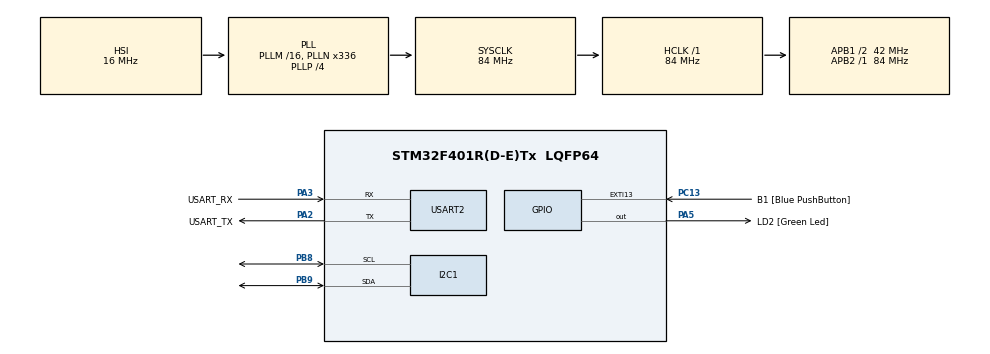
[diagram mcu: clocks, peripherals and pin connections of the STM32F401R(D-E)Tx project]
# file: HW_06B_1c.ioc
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Dma.I2C1_RX.0.Direction=DMA_PERIPH_TO_MEMORY
Dma.I2C1_RX.0.FIFOMode=DMA_FIFOMODE_DISABLE
Dma.I2C1_RX.0.Instance=DMA1_Stream0
Dma.I2C1_RX.0.MemDataAlignment=DMA_MDATAALIGN_BYTE
Dma.I2C1_RX.0.MemInc=DMA_MINC_ENABLE
Dma.I2C1_RX.0.Mode=DMA_NORMAL
Dma.I2C1_RX.0.PeriphDataAlignment=DMA_PDATAALIGN_BYTE
Dma.I2C1_RX.0.PeriphInc=DMA_PINC_DISABLE
Dma.I2C1_RX.0.Priority=DMA_PRIORITY_LOW
Dma.Request0=I2C1_RX
Dma.Request1=USART2_TX
Dma.USART2_TX.1.Direction=DMA_MEMORY_TO_PERIPH
Dma.USART2_TX.1.FIFOMode=DMA_FIFOMODE_DISABLE
Dma.USART2_TX.1.Instance=DMA1_Stream6
Dma.USART2_TX.1.MemDataAlignment=DMA_MDATAALIGN_BYTE
Dma.USART2_TX.1.MemInc=DMA_MINC_ENABLE
Dma.USART2_TX.1.Mode=DMA_NORMAL
Dma.USART2_TX.1.PeriphDataAlignment=DMA_PDATAALIGN_BYTE
Dma.USART2_TX.1.PeriphInc=DMA_PINC_DISABLE
Dma.USART2_TX.1.Priority=DMA_PRIORITY_LOW
Mcu.Family=STM32F4
Mcu.Name=STM32F401R(D-E)Tx
Mcu.Package=LQFP64
NVIC.DMA1_Stream0_IRQn=true\:0\:0\:false\:false\:true\:false\:true\:true
NVIC.DMA1_Stream6_IRQn=true\:0\:0\:false\:false\:true\:false\:true\:true
NVIC.I2C1_EV_IRQn=true\:0\:0\:false\:false\:true\:true\:true\:true
NVIC.PriorityGroup=NVIC_PRIORITYGROUP_0
NVIC.TIM2_IRQn=true\:0\:0\:false\:false\:true\:true\:true\:true
NVIC.USART2_IRQn=true\:0\:0\:false\:false\:true\:true\:true\:true
PA13.GPIO_Label=TMS
PA13.Mode=Serial_Wire
PA13.Signal=SYS_JTMS-SWDIO
PA14.GPIO_Label=TCK
PA14.Mode=Serial_Wire
PA14.Signal=SYS_JTCK-SWCLK
PA2.GPIO_Label=USART_TX
PA2.GPIO_Mode=GPIO_MODE_AF_PP
PA2.GPIO_PuPd=GPIO_NOPULL
PA2.GPIO_Speed=GPIO_SPEED_FREQ_LOW
PA2.Mode=Asynchronous
PA2.Signal=USART2_TX
PA3.GPIO_Label=USART_RX
PA3.GPIO_Mode=GPIO_MODE_AF_PP
PA3.GPIO_PuPd=GPIO_NOPULL
PA3.GPIO_Speed=GPIO_SPEED_FREQ_LOW
PA3.Mode=Asynchronous
PA3.Signal=USART2_RX
PA5.GPIO_Label=LD2 [Green Led]
PA5.GPIO_Mode=GPIO_MODE_OUTPUT_PP
PA5.GPIO_PuPd=GPIO_NOPULL
PA5.GPIO_Speed=GPIO_SPEED_FREQ_LOW
PA5.Signal=GPIO_Output
PB3.GPIO_Label=SWO
PB3.Signal=SYS_JTDO-SWO
PB8.Mode=I2C
PB8.Signal=I2C1_SCL
PB9.Mode=I2C
PB9.Signal=I2C1_SDA
PC13-ANTI_TAMP.GPIO_Label=B1 [Blue PushButton]
PC13-ANTI_TAMP.GPIO_ModeDefaultEXTI=GPIO_MODE_IT_FALLING
PC13-ANTI_TAMP.GPIO_PuPd=GPIO_NOPULL
PC13-ANTI_TAMP.Signal=GPXTI13
PC14-OSC32_IN.Mode=LSE-External-Oscillator
PC14-OSC32_IN.Signal=RCC_OSC32_IN
PC15-OSC32_OUT.Mode=LSE-External-Oscillator
PC15-OSC32_OUT.Signal=RCC_OSC32_OUT
PH0\ -\ OSC_IN.Mode=HSE-External-Clock-Source
PH0\ -\ OSC_IN.Signal=RCC_OSC_IN
PH1\ -\ OSC_OUT.Mode=HSE-External-Clock-Source
PH1\ -\ OSC_OUT.Signal=RCC_OSC_OUT
ProjectManager.HeapSize=0x200
ProjectManager.StackSize=0x400
ProjectManager.TargetToolchain=STM32CubeIDE
RCC.48MHZClocksFreq_Value=48000000
RCC.AHBFreq_Value=84000000
RCC.APB1CLKDivider=RCC_HCLK_DIV2
RCC.APB1Freq_Value=42000000
RCC.APB1TimFreq_Value=84000000
RCC.APB2Freq_Value=84000000
RCC.APB2TimFreq_Value=84000000
RCC.CortexFreq_Value=84000000
RCC.HCLKFreq_Value=84000000
RCC.HSE_VALUE=8000000
RCC.HSI_VALUE=16000000
RCC.PLLN=336
RCC.PLLP=RCC_PLLP_DIV4
RCC.PLLQ=7
RCC.SYSCLKFreq_VALUE=84000000
RCC.SYSCLKSource=RCC_SYSCLKSOURCE_PLLCLK
RCC.VCOOutputFreq_Value=336000000
TIM2.Channel-Output\ Compare1\ No\ Output=TIM_CHANNEL_1
TIM2.Period=10000-1
TIM2.Prescaler=8400-1
TIM2.TIM_MasterOutputTrigger=TIM_TRGO_UPDATE
USART2.VirtualMode=VM_ASYNC
VP_TIM2_VS_no_output1.Mode=Output Compare1 No Output
board=NUCLEO-F401RE

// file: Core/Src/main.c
/* USER CODE BEGIN Header */
/**
  ******************************************************************************
  * @file           : main.c
  * @brief          : Main program body
  ******************************************************************************
  * @attention
  *
  * Copyright (c) 2023 STMicroelectronics.
  * All rights reserved.
  *
  * This software is licensed under terms that can be found in the LICENSE file
  * in the root directory of this software component.
  * If no LICENSE file comes with this software, it is provided AS-IS.
  *
  ******************************************************************************
  */
/* USER CODE END Header */
#include "main.h"

/* USER CODE BEGIN Includes */
#include "stdio.h"
/* USER CODE END Includes */

/* USER CODE BEGIN PD */

// Board variant 1
#define LIS2DE_ADD 0b01010000

// Board variant 2
//#define LIS2DE_ADD 0b00011000

/* USER CODE END PD */

I2C_HandleTypeDef hi2c1;
DMA_HandleTypeDef hdma_i2c1_rx;

TIM_HandleTypeDef htim2;

UART_HandleTypeDef huart2;
DMA_HandleTypeDef hdma_usart2_tx;

/* USER CODE BEGIN PV */
//control register addresses and their initialization bytes value
uint8_t CTRL_REG1[2] = {0x20,0b00010111};
uint8_t CTRL_REG2[2] = {0x21,0b00000000};
uint8_t CTRL_REG4[2] = {0x23,0b00000000};

//sub address of register that stores x value
//0x80 is added to set the MSB of the address to 1, to activate the auto increment, see datasheet pag.22
uint8_t ACC_OUT_X = 0x29+0x80;
int8_t directions[5];

/* USER CODE END PV */

void SystemClock_Config(void);
static void MX_GPIO_Init(void);
static void MX_DMA_Init(void);
static void MX_USART2_UART_Init(void);
static void MX_I2C1_Init(void);
static void MX_TIM2_Init(void);

/* USER CODE BEGIN 0 */
void HAL_TIM_PeriodElapsedCallback(TIM_HandleTypeDef *htim)
{
	if(htim == &htim2)
	{
		//tell to LIS2DE which register you want to read from
		//the MSB of the subaddress is set to 1 to activate the auto increment, see datasheet pag.22
		if(HAL_I2C_Master_Transmit(&hi2c1, LIS2DE_ADD, &ACC_OUT_X, 1, 50) != HAL_OK)
			Error_Handler();

		//Read data from the register (x)
		//1 is summed to the address to tell the slave that we need to read data (see datasheet pag.22)
		if(HAL_I2C_Master_Receive_DMA(&hi2c1, LIS2DE_ADD+1, (uint8_t*)directions, 5) != HAL_OK)
			Error_Handler();
	}
}

void HAL_I2C_MasterRxCpltCallback(I2C_HandleTypeDef *hi2c)
{
	//conversion in g
	float x_g = directions[0]/64.0;
	float y_g = directions[2]/64.0;
	float z_g = directions[4]/64.0;
	char string[100];
	int length = snprintf(string,sizeof(string),"X: %1.2f, Y: %1.2f, Z: %1.2f\n",x_g,y_g,z_g);
	HAL_UART_Transmit_DMA(&huart2, (uint8_t *)string, length);
}
/* USER CODE END 0 */

int main(void)
{

  /* MCU Configuration--------------------------------------------------------*/

  /* Reset of all peripherals, Initializes the Flash interface and the Systick. */
  HAL_Init();

  /* Configure the system clock */
  SystemClock_Config();

  /* Initialize all configured peripherals */
  MX_GPIO_Init();
  MX_DMA_Init();
  MX_USART2_UART_Init();
  MX_I2C1_Init();
  MX_TIM2_Init();
  /* USER CODE BEGIN 2 */
  // send the configuration values to the 3 registers
  HAL_I2C_Master_Transmit(&hi2c1, LIS2DE_ADD, CTRL_REG1, 2, 100);
  HAL_I2C_Master_Transmit(&hi2c1, LIS2DE_ADD, CTRL_REG2, 2, 100);
  HAL_I2C_Master_Transmit(&hi2c1, LIS2DE_ADD, CTRL_REG4, 2, 100);
  // start the timer
  HAL_TIM_Base_Start_IT(&htim2);
  /* USER CODE END 2 */

  /* Infinite loop */
  while (1)
  {

  }
}

void SystemClock_Config(void)
{
  RCC_OscInitTypeDef RCC_OscInitStruct = {0};
  RCC_ClkInitTypeDef RCC_ClkInitStruct = {0};

  /** Configure the main internal regulator output voltage
  */
  __HAL_RCC_PWR_CLK_ENABLE();
  __HAL_PWR_VOLTAGESCALING_CONFIG(PWR_REGULATOR_VOLTAGE_SCALE2);

  /** Initializes the RCC Oscillators according to the specified parameters
  * in the RCC_OscInitTypeDef structure.
  */
  RCC_OscInitStruct.OscillatorType = RCC_OSCILLATORTYPE_HSI;
  RCC_OscInitStruct.HSIState = RCC_HSI_ON;
  RCC_OscInitStruct.HSICalibrationValue = RCC_HSICALIBRATION_DEFAULT;
  RCC_OscInitStruct.PLL.PLLState = RCC_PLL_ON;
  RCC_OscInitStruct.PLL.PLLSource = RCC_PLLSOURCE_HSI;
  RCC_OscInitStruct.PLL.PLLM = 16;
  RCC_OscInitStruct.PLL.PLLN = 336;
  RCC_OscInitStruct.PLL.PLLP = RCC_PLLP_DIV4;
  RCC_OscInitStruct.PLL.PLLQ = 7;
  if (HAL_RCC_OscConfig(&RCC_OscInitStruct) != HAL_OK)
  {
    Error_Handler();
  }

  /** Initializes the CPU, AHB and APB buses clocks
  */
  RCC_ClkInitStruct.ClockType = RCC_CLOCKTYPE_HCLK|RCC_CLOCKTYPE_SYSCLK
                              |RCC_CLOCKTYPE_PCLK1|RCC_CLOCKTYPE_PCLK2;
  RCC_ClkInitStruct.SYSCLKSource = RCC_SYSCLKSOURCE_PLLCLK;
  RCC_ClkInitStruct.AHBCLKDivider = RCC_SYSCLK_DIV1;
  RCC_ClkInitStruct.APB1CLKDivider = RCC_HCLK_DIV2;
  RCC_ClkInitStruct.APB2CLKDivider = RCC_HCLK_DIV1;

  if (HAL_RCC_ClockConfig(&RCC_ClkInitStruct, FLASH_LATENCY_2) != HAL_OK)
  {
    Error_Handler();
  }
}

static void MX_I2C1_Init(void)
{

  hi2c1.Instance = I2C1;
  hi2c1.Init.ClockSpeed = 100000;
  hi2c1.Init.DutyCycle = I2C_DUTYCYCLE_2;
  hi2c1.Init.OwnAddress1 = 0;
  hi2c1.Init.AddressingMode = I2C_ADDRESSINGMODE_7BIT;
  hi2c1.Init.DualAddressMode = I2C_DUALADDRESS_DISABLE;
  hi2c1.Init.OwnAddress2 = 0;
  hi2c1.Init.GeneralCallMode = I2C_GENERALCALL_DISABLE;
  hi2c1.Init.NoStretchMode = I2C_NOSTRETCH_DISABLE;
  if (HAL_I2C_Init(&hi2c1) != HAL_OK)
  {
    Error_Handler();
  }

}

static void MX_TIM2_Init(void)
{

  TIM_MasterConfigTypeDef sMasterConfig = {0};
  TIM_OC_InitTypeDef sConfigOC = {0};

  htim2.Instance = TIM2;
  htim2.Init.Prescaler = 8400-1;
  htim2.Init.CounterMode = TIM_COUNTERMODE_UP;
  htim2.Init.Period = 10000-1;
  htim2.Init.ClockDivision = TIM_CLOCKDIVISION_DIV1;
  htim2.Init.AutoReloadPreload = TIM_AUTORELOAD_PRELOAD_DISABLE;
  if (HAL_TIM_OC_Init(&htim2) != HAL_OK)
  {
    Error_Handler();
  }
  sMasterConfig.MasterOutputTrigger = TIM_TRGO_UPDATE;
  sMasterConfig.MasterSlaveMode = TIM_MASTERSLAVEMODE_DISABLE;
  if (HAL_TIMEx_MasterConfigSynchronization(&htim2, &sMasterConfig) != HAL_OK)
  {
    Error_Handler();
  }
  sConfigOC.OCMode = TIM_OCMODE_TIMING;
  sConfigOC.Pulse = 0;
  sConfigOC.OCPolarity = TIM_OCPOLARITY_HIGH;
  sConfigOC.OCFastMode = TIM_OCFAST_DISABLE;
  if (HAL_TIM_OC_ConfigChannel(&htim2, &sConfigOC, TIM_CHANNEL_1) != HAL_OK)
  {
    Error_Handler();
  }

}

static void MX_USART2_UART_Init(void)
{

  huart2.Instance = USART2;
  huart2.Init.BaudRate = 115200;
  huart2.Init.WordLength = UART_WORDLENGTH_8B;
  huart2.Init.StopBits = UART_STOPBITS_1;
  huart2.Init.Parity = UART_PARITY_NONE;
  huart2.Init.Mode = UART_MODE_TX_RX;
  huart2.Init.HwFlowCtl = UART_HWCONTROL_NONE;
  huart2.Init.OverSampling = UART_OVERSAMPLING_16;
  if (HAL_UART_Init(&huart2) != HAL_OK)
  {
    Error_Handler();
  }

}

static void MX_DMA_Init(void)
{

  /* DMA controller clock enable */
  __HAL_RCC_DMA1_CLK_ENABLE();

  /* DMA interrupt init */
  /* DMA1_Stream0_IRQn interrupt configuration */
  HAL_NVIC_SetPriority(DMA1_Stream0_IRQn, 0, 0);
  HAL_NVIC_EnableIRQ(DMA1_Stream0_IRQn);
  /* DMA1_Stream6_IRQn interrupt configuration */
  HAL_NVIC_SetPriority(DMA1_Stream6_IRQn, 0, 0);
  HAL_NVIC_EnableIRQ(DMA1_Stream6_IRQn);

}

static void MX_GPIO_Init(void)
{
  GPIO_InitTypeDef GPIO_InitStruct = {0};

  /* GPIO Ports Clock Enable */
  __HAL_RCC_GPIOC_CLK_ENABLE();
  __HAL_RCC_GPIOH_CLK_ENABLE();
  __HAL_RCC_GPIOA_CLK_ENABLE();
  __HAL_RCC_GPIOB_CLK_ENABLE();

  /*Configure GPIO pin Output Level */
  HAL_GPIO_WritePin(LD2_GPIO_Port, LD2_Pin, GPIO_PIN_RESET);

  /*Configure GPIO pin : B1_Pin */
  GPIO_InitStruct.Pin = B1_Pin;
  GPIO_InitStruct.Mode = GPIO_MODE_IT_FALLING;
  GPIO_InitStruct.Pull = GPIO_NOPULL;
  HAL_GPIO_Init(B1_GPIO_Port, &GPIO_InitStruct);

  /*Configure GPIO pin : LD2_Pin */
  GPIO_InitStruct.Pin = LD2_Pin;
  GPIO_InitStruct.Mode = GPIO_MODE_OUTPUT_PP;
  GPIO_InitStruct.Pull = GPIO_NOPULL;
  GPIO_InitStruct.Speed = GPIO_SPEED_FREQ_LOW;
  HAL_GPIO_Init(LD2_GPIO_Port, &GPIO_InitStruct);

}

void Error_Handler(void)
{
  __disable_irq();
  while (1)
  {
  }
}
